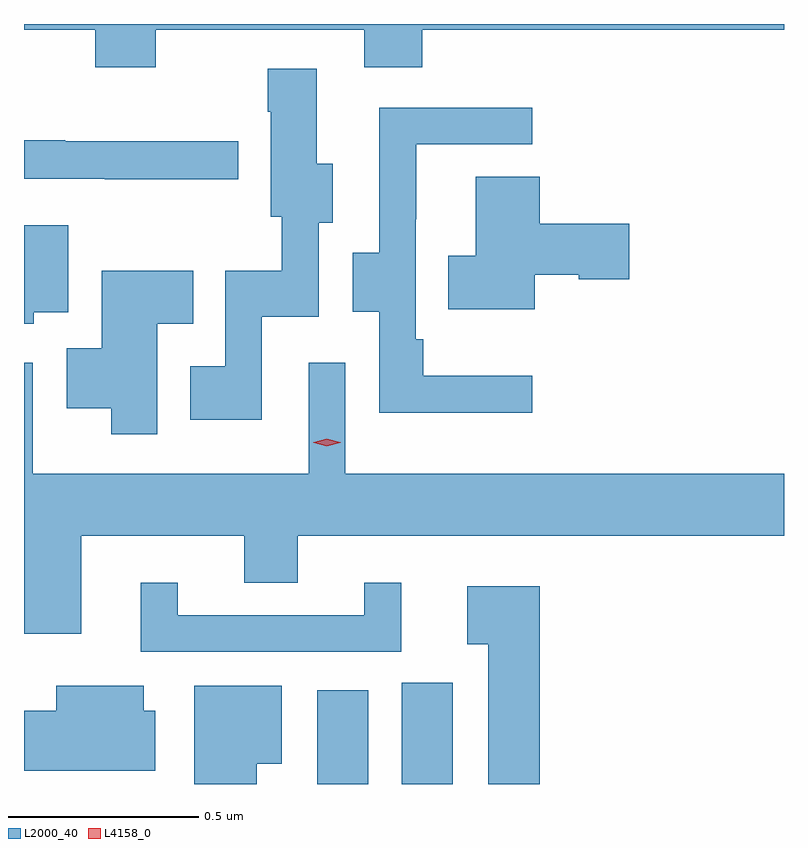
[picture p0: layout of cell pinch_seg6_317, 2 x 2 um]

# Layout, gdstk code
import gdstk
lib = gdstk.Library(unit=1e-6, precision=1e-09)
def R(c, l, rs):  # rectangles x0, y0, x1, y1
    for r in rs: c.add(gdstk.rectangle(r[:2], r[2:], *l))
def P(c, l, *ps):  # polygons
    for p in ps: c.add(gdstk.Polygon(p, *l))
L2000_40 = (2000, 40)
L4158_0 = (4158, 0)

pinch_seg6_317 = lib.new_cell('pinch_seg6_317')
R(pinch_seg6_317, L2000_40, [(685.502,965.331,685.636,965.578), (685.724,965.331,685.858,965.598)])
P(pinch_seg6_317, L2000_40, [(685.077,967.316),(685.625,967.316),(685.625,967.217),(685.778,967.217),(685.778,967.316),(686.73,967.316),(686.73,967.331),(684.73,967.331),(684.73,967.316),(684.917,967.316),(684.917,967.217),(685.077,967.217)],
  [(685.356,966.56),(685.506,966.56),(685.506,966.808),(685.543,966.808),(685.543,966.963),(685.501,966.963),(685.501,967.213),(685.372,967.213),(685.372,967.1),(685.379,967.1),(685.379,966.824),(685.408,966.824),(685.408,966.682),(685.26,966.682),(685.26,966.43),(685.167,966.43),(685.167,966.29),(685.356,966.29)],
  [(686.068,966.406),(685.781,966.406),(685.781,966.502),(685.761,966.502),(685.761,966.817),(685.762,966.817),(685.762,967.014),(686.068,967.014),(686.068,967.11),(685.665,967.11),(685.665,966.729),(685.595,966.729),(685.595,966.574),(685.665,966.574),(685.665,966.308),(686.068,966.308)],
  [(685.294,967.022),(684.839,967.022),(684.839,967.025),(684.73,967.025),(684.73,966.924),(684.943,966.924),(684.943,966.922),(685.294,966.922)],
  [(686.074,966.671),(686.19,966.671),(686.19,966.659),(686.323,966.659),(686.323,966.806),(686.087,966.806),(686.087,966.929),(685.919,966.929),(685.919,966.721),(685.846,966.721),(685.846,966.581),(686.074,966.581)],
  [(684.756,966.572),(684.847,966.572),(684.847,966.802),(684.73,966.802),(684.73,966.542),(684.756,966.542)],
  [(685.081,966.542),(685.175,966.542),(685.175,966.682),(684.935,966.682),(684.935,966.478),(684.842,966.478),(684.842,966.32),(684.959,966.32),(684.959,966.252),(685.081,966.252)],
  [(684.88,965.984),(685.31,965.984),(685.31,965.86),(685.45,965.86),(685.45,965.984),(686.73,965.984),(686.73,966.148),(685.575,966.148),(685.575,966.439),(685.479,966.439),(685.479,966.148),(684.753,966.148),(684.753,966.439),(684.73,966.439),(684.73,965.727),(684.88,965.727)],
  [(685.723,965.86),(685.625,965.86),(685.625,965.775),(685.135,965.775),(685.135,965.86),(685.037,965.86),(685.037,965.679),(685.723,965.679)],
  [(686.087,965.851),(685.896,965.851),(685.896,965.699),(685.952,965.699),(685.952,965.331),(686.087,965.331)],
  [(685.342,965.384),(685.408,965.384),(685.408,965.59),(685.178,965.59),(685.178,965.331),(685.342,965.331)],
  [(685.075,965.524),(685.045,965.524),(685.045,965.59),(684.815,965.59),(684.815,965.524),(684.73,965.524),(684.73,965.366),(685.075,965.366)])
P(pinch_seg6_317, L4158_0, [(685.527,966.22),(685.492,966.229),(685.491,966.23),(685.492,966.23),(685.527,966.24),(685.562,966.23),(685.563,966.23),(685.562,966.229)])

lib.write_gds('pinch_seg6_317.gds')
